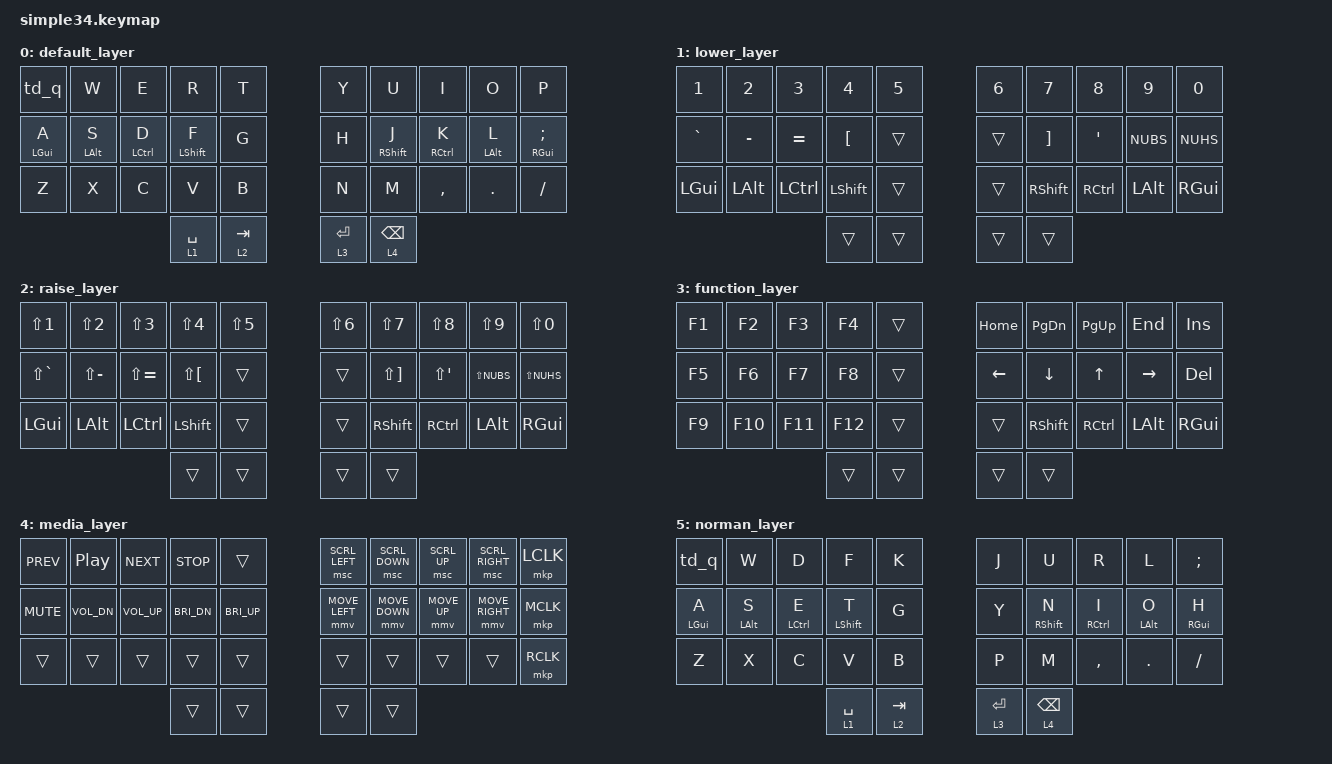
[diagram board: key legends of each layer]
#include <behaviors.dtsi>
#include <dt-bindings/zmk/keys.h>
#include <dt-bindings/zmk/mouse.h>
/ {
    behaviors {
        td_q: tap_dance_q {
            compatible = "zmk,behavior-tap-dance";
            #binding-cells = <0>;
            tapping-term-ms = <200>;
            bindings = <&kp Q>, <&kp ESC>;
        };
        mt: mod_tap {
            compatible = "zmk,behavior-hold-tap";
            #binding-cells = <2>;
            flavor = "balanced";
            tapping-term-ms = <200>;
            quick-tap-ms = <175>;
            bindings = <&kp>, <&kp>;
        };
        lt: layer_tap {
            compatible = "zmk,behavior-hold-tap";
            #binding-cells = <2>;
            flavor = "balanced";
            tapping-term-ms = <200>;
            quick-tap-ms = <175>;
            bindings = <&mo>, <&kp>;
        };
    };
    combos {
        compatible = "zmk,combos";
        combo_capslock {
            timeout-ms = <50>;
            key-positions = <13 16>;
            bindings = <&kp CAPS>;
            layers = <0>;
        };
        toggle_norman {
            timeout-ms = <50>;
            key-positions = <30 31>;
            bindings = <&tog 5>;
            layers = <0 5>;
        };
    };
    keymap {
        compatible = "zmk,keymap";
        // Layer 0: Base Layer - QWERTY
        default_layer {
            bindings = <
                &td_q        &kp W        &kp E        &kp R        &kp T              &kp Y        &kp U        &kp I        &kp O        &kp P
                &mt LGUI A   &mt LALT S   &mt LCTRL D  &mt LSHFT F  &kp G              &kp H        &mt RSHFT J  &mt RCTRL K  &mt LALT L   &mt RGUI SEMI
                &kp Z        &kp X        &kp C        &kp V        &kp B              &kp N        &kp M        &kp COMMA    &kp DOT      &kp FSLH
                                                       &lt 1 SPACE  &lt 2 TAB          &lt 3 RET    &lt 4 BSPC
            >;
        };
        // Layer 1: Numbers & Symbols
        lower_layer {
            bindings = <
                &kp N1       &kp N2       &kp N3       &kp N4       &kp N5             &kp N6       &kp N7       &kp N8       &kp N9       &kp N0
                &kp GRAVE    &kp MINUS    &kp EQUAL    &kp LBKT     &trans             &trans       &kp RBKT     &kp APOS     &kp NUBS     &kp NUHS
                &kp LGUI     &kp LALT     &kp LCTRL    &kp LSHFT    &trans             &trans       &kp RSHFT    &kp RCTRL    &kp LALT     &kp RGUI
                                                       &trans       &trans             &trans       &trans
            >;
        };
        // Layer 2: Shifted Numbers & Symbols
        raise_layer {
            bindings = <
                &kp LS(N1)   &kp LS(N2)   &kp LS(N3)   &kp LS(N4)   &kp LS(N5)         &kp LS(N6)   &kp LS(N7)   &kp LS(N8)   &kp LS(N9)   &kp LS(N0)
                &kp LS(GRAVE) &kp LS(MINUS) &kp LS(EQUAL) &kp LS(LBKT) &trans            &trans       &kp LS(RBKT) &kp LS(APOS) &kp LS(NUBS) &kp LS(NUHS)
                &kp LGUI     &kp LALT     &kp LCTRL    &kp LSHFT    &trans             &trans       &kp RSHFT    &kp RCTRL    &kp LALT     &kp RGUI
                                                       &trans       &trans             &trans       &trans
            >;
        };
        // Layer 3: Function Keys & Navigation
        function_layer {
            bindings = <
                &kp F1       &kp F2       &kp F3       &kp F4       &trans             &kp HOME     &kp PG_DN    &kp PG_UP    &kp END      &kp INS
                &kp F5       &kp F6       &kp F7       &kp F8       &trans             &kp LEFT     &kp DOWN     &kp UP       &kp RIGHT    &kp DEL
                &kp F9       &kp F10      &kp F11      &kp F12      &trans             &trans       &kp RSHFT    &kp RCTRL    &kp LALT     &kp RGUI
                                                       &trans       &trans             &trans       &trans
            >;
        };
        // Layer 4: Media Controls & Mouse
        media_layer {
            bindings = <
                &kp C_PREV   &kp C_PP     &kp C_NEXT   &kp C_STOP   &trans             &msc SCRL_LEFT &msc SCRL_DOWN &msc SCRL_UP &msc SCRL_RIGHT &mkp LCLK
                &kp C_MUTE   &kp C_VOL_DN &kp C_VOL_UP &kp C_BRI_DN &kp C_BRI_UP       &mmv MOVE_LEFT &mmv MOVE_DOWN &mmv MOVE_UP &mmv MOVE_RIGHT &mkp MCLK
                &trans       &trans       &trans       &trans       &trans             &trans       &trans       &trans       &trans       &mkp RCLK
                                                       &trans       &trans             &trans       &trans
            >;
        };
        // Layer 5: Norman alpha layout
        norman_layer {
            bindings = <
                &td_q        &kp W        &kp D        &kp F        &kp K              &kp J        &kp U        &kp R        &kp L        &kp SEMI
                &mt LGUI A   &mt LALT S   &mt LCTRL E  &mt LSHFT T  &kp G              &kp Y        &mt RSHFT N  &mt RCTRL I  &mt LALT O   &mt RGUI H
                &kp Z        &kp X        &kp C        &kp V        &kp B              &kp P        &kp M        &kp COMMA    &kp DOT      &kp FSLH
                                                       &lt 1 SPACE  &lt 2 TAB          &lt 3 RET    &lt 4 BSPC
            >;
        };
    };
};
